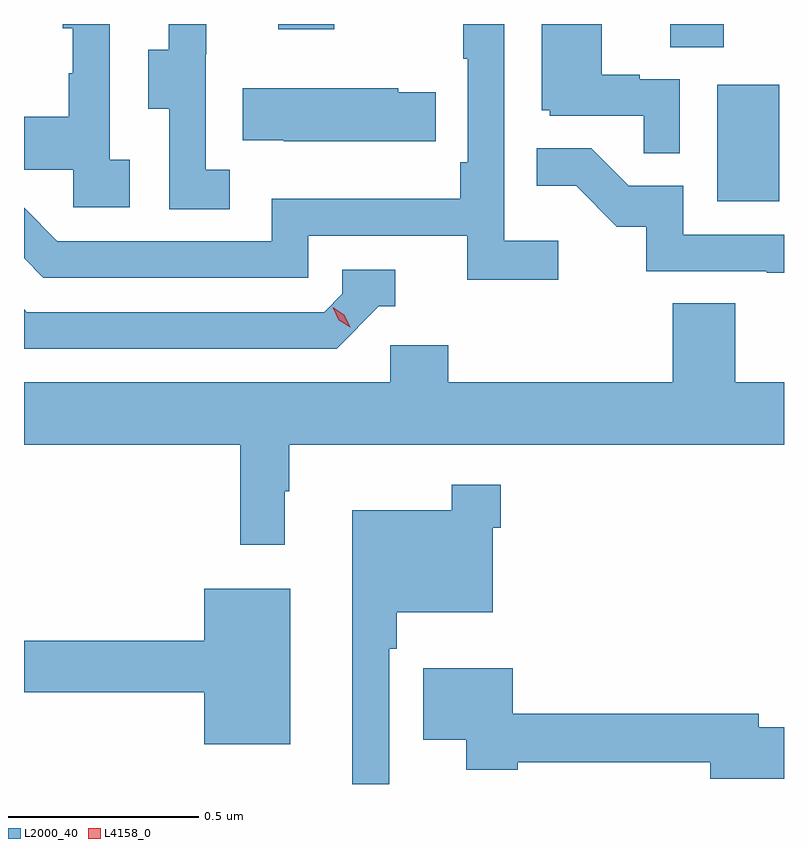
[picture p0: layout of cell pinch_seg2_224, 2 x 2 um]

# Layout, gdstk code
import gdstk
lib = gdstk.Library(unit=1e-6, precision=1e-09)
def R(c, l, rs):  # rectangles x0, y0, x1, y1
    for r in rs: c.add(gdstk.rectangle(r[:2], r[2:], *l))
def P(c, l, *ps):  # polygons
    for p in ps: c.add(gdstk.Polygon(p, *l))
L2000_40 = (2000, 40)
L4158_0 = (4158, 0)

pinch_seg2_224 = lib.new_cell('pinch_seg2_224')
R(pinch_seg2_224, L2000_40, [(1001.858,656.268,1002.022,656.575), (1001.735,656.674,1001.875,656.735), (1000.703,656.721,1000.851,656.735)])
P(pinch_seg2_224, L2000_40, [(1001.76,656.589),(1001.654,656.589),(1001.654,656.602),(1001.554,656.602),(1001.554,656.735),(1001.396,656.735),(1001.396,656.508),(1001.418,656.508),(1001.418,656.493),(1001.665,656.493),(1001.665,656.395),(1001.76,656.395)],
  [(1000.576,656.351),(1000.512,656.351),(1000.512,656.655),(1000.514,656.655),(1000.514,656.735),(1000.415,656.735),(1000.415,656.667),(1000.361,656.667),(1000.361,656.512),(1000.416,656.512),(1000.416,656.248),(1000.576,656.248)],
  [(1000.312,656.378),(1000.26,656.378),(1000.26,656.735),(1000.136,656.735),(1000.136,656.724),(1000.162,656.724),(1000.162,656.606),(1000.152,656.606),(1000.152,656.491),(1000.034,656.491),(1000.034,656.351),(1000.164,656.351),(1000.164,656.253),(1000.312,656.253)],
  [(1001.44,656.164),(1001.298,656.164),(1001.298,656.735),(1001.19,656.735),(1001.19,656.644),(1001.202,656.644),(1001.202,656.371),(1001.182,656.371),(1001.182,656.275),(1000.686,656.275),(1000.686,656.163),(1000.122,656.163),(1000.034,656.251),(1000.034,656.118),(1000.085,656.067),(1000.782,656.067),(1000.782,656.178),(1001.201,656.178),(1001.201,656.062),(1001.44,656.062)],
  [(1001.117,656.556),(1001.019,656.556),(1001.019,656.566),(1000.609,656.566),(1000.609,656.429),(1000.717,656.429),(1000.717,656.426),(1001.117,656.426)],
  [(1002.034,656.181),(1001.769,656.181),(1001.769,656.31),(1001.625,656.31),(1001.527,656.408),(1001.383,656.408),(1001.383,656.309),(1001.487,656.309),(1001.594,656.202),(1001.671,656.202),(1001.671,656.085),(1001.989,656.085),(1001.989,656.08),(1002.034,656.08)],
  [(1000.968,655.992),(1001.011,655.992),(1001.011,656.088),(1000.872,656.088),(1000.872,656.025),(1000.824,655.977),(1000.041,655.977),(1000.034,655.984),(1000.034,655.881),(1000.857,655.881)],
  [(1000.72,655.505),(1000.732,655.505),(1000.732,655.628),(1002.034,655.628),(1002.034,655.792),(1001.906,655.792),(1001.906,656),(1001.741,656),(1001.741,655.792),(1001.15,655.792),(1001.15,655.89),(1000.998,655.89),(1000.998,655.792),(1000.034,655.792),(1000.034,655.628),(1000.603,655.628),(1000.603,655.365),(1000.72,655.365)],
  [(1000.995,655.091),(1001.015,655.091),(1001.015,655.187),(1001.268,655.187),(1001.268,655.409),(1001.288,655.409),(1001.288,655.522),(1001.16,655.522),(1001.16,655.456),(1000.898,655.456),(1000.898,654.735),(1000.995,654.735)],
  [(1000.735,655.249),(1000.508,655.249),(1000.508,655.112),(1000.034,655.112),(1000.034,654.976),(1000.508,654.976),(1000.508,654.839),(1000.735,654.839)],
  [(1002.034,654.884),(1001.968,654.884),(1001.968,654.92),(1001.32,654.92),(1001.32,655.039),(1001.084,655.039),(1001.084,654.851),(1001.198,654.851),(1001.198,654.773),(1001.333,654.773),(1001.333,654.792),(1001.84,654.792),(1001.84,654.749),(1002.034,654.749)])
P(pinch_seg2_224, L4158_0, [(1000.892,655.937),(1000.862,655.956),(1000.846,655.989),(1000.846,655.99),(1000.846,655.99),(1000.877,655.97),(1000.893,655.937),(1000.893,655.937)])

lib.write_gds('pinch_seg2_224.gds')
